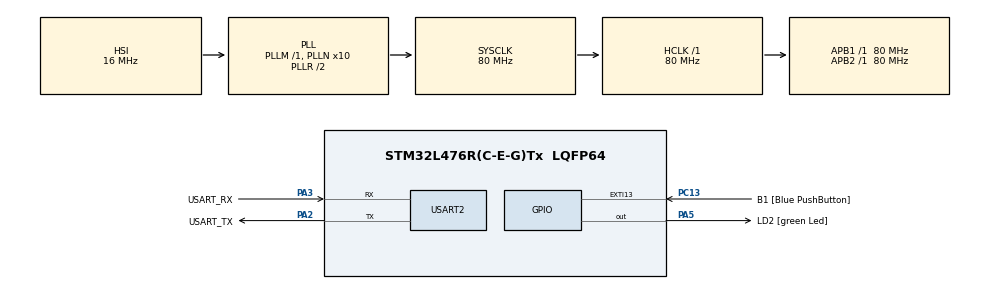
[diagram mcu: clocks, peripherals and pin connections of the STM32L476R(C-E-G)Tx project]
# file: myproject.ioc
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Mcu.Family=STM32L4
Mcu.Name=STM32L476R(C-E-G)Tx
Mcu.Package=LQFP64
NVIC.EXTI15_10_IRQn=true\:0\:0\:false\:false\:true\:true\:true\:true
NVIC.PriorityGroup=NVIC_PRIORITYGROUP_4
NVIC.TIM6_DAC_IRQn=true\:0\:0\:false\:false\:true\:true\:true\:true
NVIC.USART2_IRQn=true\:0\:0\:false\:false\:true\:true\:true\:true
PA13\ (JTMS-SWDIO).GPIO_Label=TMS
PA13\ (JTMS-SWDIO).Mode=Serial_Wire
PA13\ (JTMS-SWDIO).Signal=SYS_JTMS-SWDIO
PA14\ (JTCK-SWCLK).GPIO_Label=TCK
PA14\ (JTCK-SWCLK).Mode=Serial_Wire
PA14\ (JTCK-SWCLK).Signal=SYS_JTCK-SWCLK
PA2.GPIO_Label=USART_TX
PA2.GPIO_Mode=GPIO_MODE_AF_PP
PA2.GPIO_PuPd=GPIO_NOPULL
PA2.GPIO_Speed=GPIO_SPEED_FREQ_VERY_HIGH
PA2.Mode=Asynchronous
PA2.Signal=USART2_TX
PA3.GPIO_Label=USART_RX
PA3.GPIO_Mode=GPIO_MODE_AF_PP
PA3.GPIO_PuPd=GPIO_NOPULL
PA3.GPIO_Speed=GPIO_SPEED_FREQ_VERY_HIGH
PA3.Mode=Asynchronous
PA3.Signal=USART2_RX
PA5.GPIO_Label=LD2 [green Led]
PA5.GPIO_ModeDefaultOutputPP=GPIO_MODE_OUTPUT_PP
PA5.GPIO_PuPd=GPIO_NOPULL
PA5.GPIO_Speed=GPIO_SPEED_FREQ_LOW
PA5.Signal=GPIO_Output
PB3\ (JTDO-TRACESWO).GPIO_Label=SWO
PB3\ (JTDO-TRACESWO).Signal=SYS_JTDO-SWO
PC13.GPIO_Label=B1 [Blue PushButton]
PC13.GPIO_ModeDefaultEXTI=GPIO_MODE_IT_FALLING
PC13.GPIO_PuPd=GPIO_NOPULL
PC13.Signal=GPXTI13
PC14-OSC32_IN\ (PC14).Mode=LSE-External-Oscillator
PC14-OSC32_IN\ (PC14).Signal=RCC_OSC32_IN
PC15-OSC32_OUT\ (PC15).Mode=LSE-External-Oscillator
PC15-OSC32_OUT\ (PC15).Signal=RCC_OSC32_OUT
PH0-OSC_IN\ (PH0).Signal=RCC_OSC_IN
PH1-OSC_OUT\ (PH1).Signal=RCC_OSC_OUT
ProjectManager.HeapSize=0x200
ProjectManager.StackSize=0x400
ProjectManager.TargetToolchain=STM32CubeIDE
RCC.ADCFreq_Value=64000000
RCC.AHBFreq_Value=80000000
RCC.APB1Freq_Value=80000000
RCC.APB1TimFreq_Value=80000000
RCC.APB2Freq_Value=80000000
RCC.APB2TimFreq_Value=80000000
RCC.CortexFreq_Value=80000000
RCC.HCLKFreq_Value=80000000
RCC.HSE_VALUE=8000000
RCC.HSI_VALUE=16000000
RCC.MSI_VALUE=4000000
RCC.PLLN=10
RCC.PLLSourceVirtual=RCC_PLLSOURCE_HSI
RCC.PREFETCH_ENABLE=1
RCC.SYSCLKFreq_VALUE=80000000
RCC.SYSCLKSource=RCC_SYSCLKSOURCE_PLLCLK
RCC.USBFreq_Value=64000000
RCC.VCOOutputFreq_Value=160000000
TIM6.Period=4999
TIM6.Prescaler=7999
USART2.VirtualMode-Asynchronous=VM_ASYNC
VP_TIM6_VS_ClockSourceINT.Mode=Enable_Timer
board=NUCLEO-L476RG

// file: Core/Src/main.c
/* USER CODE BEGIN Header */
/**
  ******************************************************************************
  * @file           : main.c
  * @brief          : Main program body
  ******************************************************************************
  * @attention
  *
  * Copyright (c) 2022 STMicroelectronics.
  * All rights reserved.
  *
  * This software is licensed under terms that can be found in the LICENSE file
  * in the root directory of this software component.
  * If no LICENSE file comes with this software, it is provided AS-IS.
  *
  ******************************************************************************
  */
/* USER CODE END Header */
#include "main.h"

/* USER CODE BEGIN Includes */
#include <stdio.h>
#include <string.h>
#include "ringbuffer.h"

/* USER CODE END Includes */

 TIM_HandleTypeDef htim6;

UART_HandleTypeDef huart2;

void SystemClock_Config(void);
static void MX_GPIO_Init(void);
static void MX_USART2_UART_Init(void);
static void MX_TIM6_Init(void);

/* USER CODE BEGIN 0 */

RingBuffer txrb;
RingBuffer rxrb;

#define WELCOME_MSG "Welcome from STM32\n\r\n\r"
#define MAIN_MENU "Available Options:\n\r"
#define OPTION1 "1. Start LED blinking\n\r"
#define OPTION2 "2. Stop LED blinking\n\r"
#define PROMPT "Select Option >\n\r"

int UART_Transmit(UART_HandleTypeDef *huart, uint8_t *pData, size_t len)
{
	if (HAL_UART_Transmit_IT(huart, pData, len) != HAL_OK) {
		if (!RingBuffer_Write(&txrb, pData, len)) {
			return 0;
		}
	}
	return 1;
}

void HAL_UART_TxCpltCallback(UART_HandleTypeDef *huart) {
	uint8_t txData;
	if (!RingBuffer_IsEmpty(&txrb)) {
		RingBuffer_Read(&txrb, &txData, 1);
		HAL_UART_Transmit_IT(huart, &txData, 1);
	}
}

void printMessages(void) {
	HAL_UART_Transmit_IT(&huart2, (uint8_t*)WELCOME_MSG, strlen(WELCOME_MSG));
	HAL_UART_Transmit_IT(&huart2, (uint8_t*)MAIN_MENU, strlen(MAIN_MENU));
	HAL_UART_Transmit_IT(&huart2, (uint8_t*)OPTION1, strlen(OPTION1));
	HAL_UART_Transmit_IT(&huart2, (uint8_t*)OPTION2, strlen(OPTION2));
	HAL_UART_Transmit_IT(&huart2, (uint8_t*)PROMPT, strlen(PROMPT));
}

void printMessages2(void) {
	UART_Transmit(&huart2, (uint8_t*)WELCOME_MSG, strlen(WELCOME_MSG));
	UART_Transmit(&huart2, (uint8_t*)MAIN_MENU, strlen(MAIN_MENU));
	UART_Transmit(&huart2, (uint8_t*)OPTION1, strlen(OPTION1));
	UART_Transmit(&huart2, (uint8_t*)OPTION2, strlen(OPTION2));
	UART_Transmit(&huart2, (uint8_t*)PROMPT, strlen(PROMPT));
}

/////////////////////////////////////////////////////////////////////////
// Led task definitions and functions
/////////////////////////////////////////////////////////////////////////

enum LedTaskState
{
	LedOn,
	LedOff,
};

enum LedTaskState ledState;
int ledCount;
int ledMaxCount;

void ledTask()
{
	if (ledState == LedOn)
	{
		if (ledCount++ >= ledMaxCount)
		{
			HAL_GPIO_TogglePin(LD2_GPIO_Port, LD2_Pin);
			ledCount = 0;
		}
	}
	else if (ledState == LedOff)
	{
		//HAL_GPIO_WritePin(LD2_GPIO_Port, LD2_Pin, 0);
	}
}

void ledStart(int maxCount)
{
	ledState = LedOn;
	ledMaxCount = maxCount;
}

void ledStop()
{
	ledState = LedOff;
	HAL_GPIO_WritePin(LD2_GPIO_Port, LD2_Pin, 0);
}

/////////////////////////////////////////////////////////////////////////
// Communication task definitions and functions
/////////////////////////////////////////////////////////////////////////

#define MAX_BUFFER_LENGTH 100

uint8_t cmdbuffer[MAX_BUFFER_LENGTH];
int cmdcount = 0;
int cmdprint = 0;
uint8_t ch;

void HAL_UART_RxCpltCallback(UART_HandleTypeDef *huart)
{
	// in this callback we know that we have received the data
	if (ch == '\r')
	{
		// this is the end of the input
		// notify that we ready to handle new command
		cmdcount = RING_BUFFER_SIZE - RingBuffer_FreeSpace(&rxrb);
	}
	else
	{
		// put char to rx buffer
		if (RingBuffer_Write(&rxrb, &ch, 1) != 1)
		{
			// no more space in buffer, clear it
			RingBuffer_Init(&rxrb);
		}

		// we can echo it because echo will use interrupt and will not stop this interrupt
		UART_Transmit(&huart2, &ch, 1);
	}

	// clear error if we have
	if ((huart2.Instance->ISR & USART_ISR_ORE) != 0)
	{
		__HAL_UART_CLEAR_OREFLAG(&huart2);
	}

	// start reading again
	/*HAL_StatusTypeDef Status = */HAL_UART_Receive_IT(&huart2, &ch, 1);
}

int Communication_commTask()
{
	// just wait for interrupt to set cmdcount
	if (!cmdcount)
	{
		return 0;
	}

	// read the command in buffer
	RingBuffer_Read(&rxrb, cmdbuffer, cmdcount);

	//UART_Transmit(&huart2, cmdbuffer, cmdcount);

	// echo EOL
	UART_Transmit(&huart2, (uint8_t*)"\r\n", 2);

	// now we can notify that command is received
	cmdbuffer[cmdcount] = 0;
	cmdcount = 0;
	cmdprint = 0;
	return 1;
}

void Communication_handleCommand()
{
  char cmd[20];
  int maxCount;

  int params = sscanf((const char*)cmdbuffer, "%s %d", cmd, &maxCount);

  if (params == 0)
  {
	  return;
  }

  if (strcmp(cmd, "start") == 0)
  {
	  ledStart(maxCount);
  }
  else if (strcmp(cmd, "stop") == 0)
  {
	  ledStop();
  }
  else
  {
	  printf("Invalid command\r\n");
  }
}

/////////////////////////////////////////////////////////////////////////
// Redirecting printf to UART
/////////////////////////////////////////////////////////////////////////
int _write(int fd, char* ptr, int len) {
    //HAL_UART_Transmit(&huart2, (uint8_t *) ptr, len, HAL_MAX_DELAY);
	UART_Transmit(&huart2, (uint8_t *) ptr, len);
    return len;
}

/* USER CODE END 0 */

int main(void)
{

  /* MCU Configuration--------------------------------------------------------*/

  /* Reset of all peripherals, Initializes the Flash interface and the Systick. */
  HAL_Init();

  /* Configure the system clock */
  SystemClock_Config();

  /* Initialize all configured peripherals */
  MX_GPIO_Init();
  MX_USART2_UART_Init();
  MX_TIM6_Init();
  /* USER CODE BEGIN 2 */
  RingBuffer_Init(&txrb);
  RingBuffer_Init(&rxrb);

  printMessages2();

  //
  // start communication be receiving one byte
  /*HAL_StatusTypeDef Status = */HAL_UART_Receive_IT(&huart2, &ch, 1);

  /* USER CODE END 2 */

  /* Infinite loop */
  while (1)
  {

    /* USER CODE BEGIN 3 */
	  ledTask();
	  if (Communication_commTask())
	  {
		  Communication_handleCommand();
	  }
  }
  /* USER CODE END 3 */
}

void SystemClock_Config(void)
{
  RCC_OscInitTypeDef RCC_OscInitStruct = {0};
  RCC_ClkInitTypeDef RCC_ClkInitStruct = {0};

  /** Configure the main internal regulator output voltage
  */
  if (HAL_PWREx_ControlVoltageScaling(PWR_REGULATOR_VOLTAGE_SCALE1) != HAL_OK)
  {
    Error_Handler();
  }

  /** Initializes the RCC Oscillators according to the specified parameters
  * in the RCC_OscInitTypeDef structure.
  */
  RCC_OscInitStruct.OscillatorType = RCC_OSCILLATORTYPE_HSI;
  RCC_OscInitStruct.HSIState = RCC_HSI_ON;
  RCC_OscInitStruct.HSICalibrationValue = RCC_HSICALIBRATION_DEFAULT;
  RCC_OscInitStruct.PLL.PLLState = RCC_PLL_ON;
  RCC_OscInitStruct.PLL.PLLSource = RCC_PLLSOURCE_HSI;
  RCC_OscInitStruct.PLL.PLLM = 1;
  RCC_OscInitStruct.PLL.PLLN = 10;
  RCC_OscInitStruct.PLL.PLLP = RCC_PLLP_DIV7;
  RCC_OscInitStruct.PLL.PLLQ = RCC_PLLQ_DIV2;
  RCC_OscInitStruct.PLL.PLLR = RCC_PLLR_DIV2;
  if (HAL_RCC_OscConfig(&RCC_OscInitStruct) != HAL_OK)
  {
    Error_Handler();
  }

  /** Initializes the CPU, AHB and APB buses clocks
  */
  RCC_ClkInitStruct.ClockType = RCC_CLOCKTYPE_HCLK|RCC_CLOCKTYPE_SYSCLK
                              |RCC_CLOCKTYPE_PCLK1|RCC_CLOCKTYPE_PCLK2;
  RCC_ClkInitStruct.SYSCLKSource = RCC_SYSCLKSOURCE_PLLCLK;
  RCC_ClkInitStruct.AHBCLKDivider = RCC_SYSCLK_DIV1;
  RCC_ClkInitStruct.APB1CLKDivider = RCC_HCLK_DIV1;
  RCC_ClkInitStruct.APB2CLKDivider = RCC_HCLK_DIV1;

  if (HAL_RCC_ClockConfig(&RCC_ClkInitStruct, FLASH_LATENCY_4) != HAL_OK)
  {
    Error_Handler();
  }
}

static void MX_TIM6_Init(void)
{

  TIM_MasterConfigTypeDef sMasterConfig = {0};

  htim6.Instance = TIM6;
  htim6.Init.Prescaler = 7999;
  htim6.Init.CounterMode = TIM_COUNTERMODE_UP;
  htim6.Init.Period = 4999;
  htim6.Init.AutoReloadPreload = TIM_AUTORELOAD_PRELOAD_DISABLE;
  if (HAL_TIM_Base_Init(&htim6) != HAL_OK)
  {
    Error_Handler();
  }
  sMasterConfig.MasterOutputTrigger = TIM_TRGO_RESET;
  sMasterConfig.MasterSlaveMode = TIM_MASTERSLAVEMODE_DISABLE;
  if (HAL_TIMEx_MasterConfigSynchronization(&htim6, &sMasterConfig) != HAL_OK)
  {
    Error_Handler();
  }

}

static void MX_USART2_UART_Init(void)
{

  huart2.Instance = USART2;
  huart2.Init.BaudRate = 115200;
  huart2.Init.WordLength = UART_WORDLENGTH_8B;
  huart2.Init.StopBits = UART_STOPBITS_1;
  huart2.Init.Parity = UART_PARITY_NONE;
  huart2.Init.Mode = UART_MODE_TX_RX;
  huart2.Init.HwFlowCtl = UART_HWCONTROL_NONE;
  huart2.Init.OverSampling = UART_OVERSAMPLING_16;
  huart2.Init.OneBitSampling = UART_ONE_BIT_SAMPLE_DISABLE;
  huart2.AdvancedInit.AdvFeatureInit = UART_ADVFEATURE_NO_INIT;
  if (HAL_UART_Init(&huart2) != HAL_OK)
  {
    Error_Handler();
  }

}

static void MX_GPIO_Init(void)
{
  GPIO_InitTypeDef GPIO_InitStruct = {0};

  /* GPIO Ports Clock Enable */
  __HAL_RCC_GPIOC_CLK_ENABLE();
  __HAL_RCC_GPIOH_CLK_ENABLE();
  __HAL_RCC_GPIOA_CLK_ENABLE();
  __HAL_RCC_GPIOB_CLK_ENABLE();

  /*Configure GPIO pin Output Level */
  HAL_GPIO_WritePin(LD2_GPIO_Port, LD2_Pin, GPIO_PIN_RESET);

  /*Configure GPIO pin : B1_Pin */
  GPIO_InitStruct.Pin = B1_Pin;
  GPIO_InitStruct.Mode = GPIO_MODE_IT_FALLING;
  GPIO_InitStruct.Pull = GPIO_NOPULL;
  HAL_GPIO_Init(B1_GPIO_Port, &GPIO_InitStruct);

  /*Configure GPIO pin : LD2_Pin */
  GPIO_InitStruct.Pin = LD2_Pin;
  GPIO_InitStruct.Mode = GPIO_MODE_OUTPUT_PP;
  GPIO_InitStruct.Pull = GPIO_NOPULL;
  GPIO_InitStruct.Speed = GPIO_SPEED_FREQ_LOW;
  HAL_GPIO_Init(LD2_GPIO_Port, &GPIO_InitStruct);

  /* EXTI interrupt init*/
  HAL_NVIC_SetPriority(EXTI15_10_IRQn, 0, 0);
  HAL_NVIC_EnableIRQ(EXTI15_10_IRQn);

}

void Error_Handler(void)
{
  __disable_irq();
  while (1)
  {
  }
}
